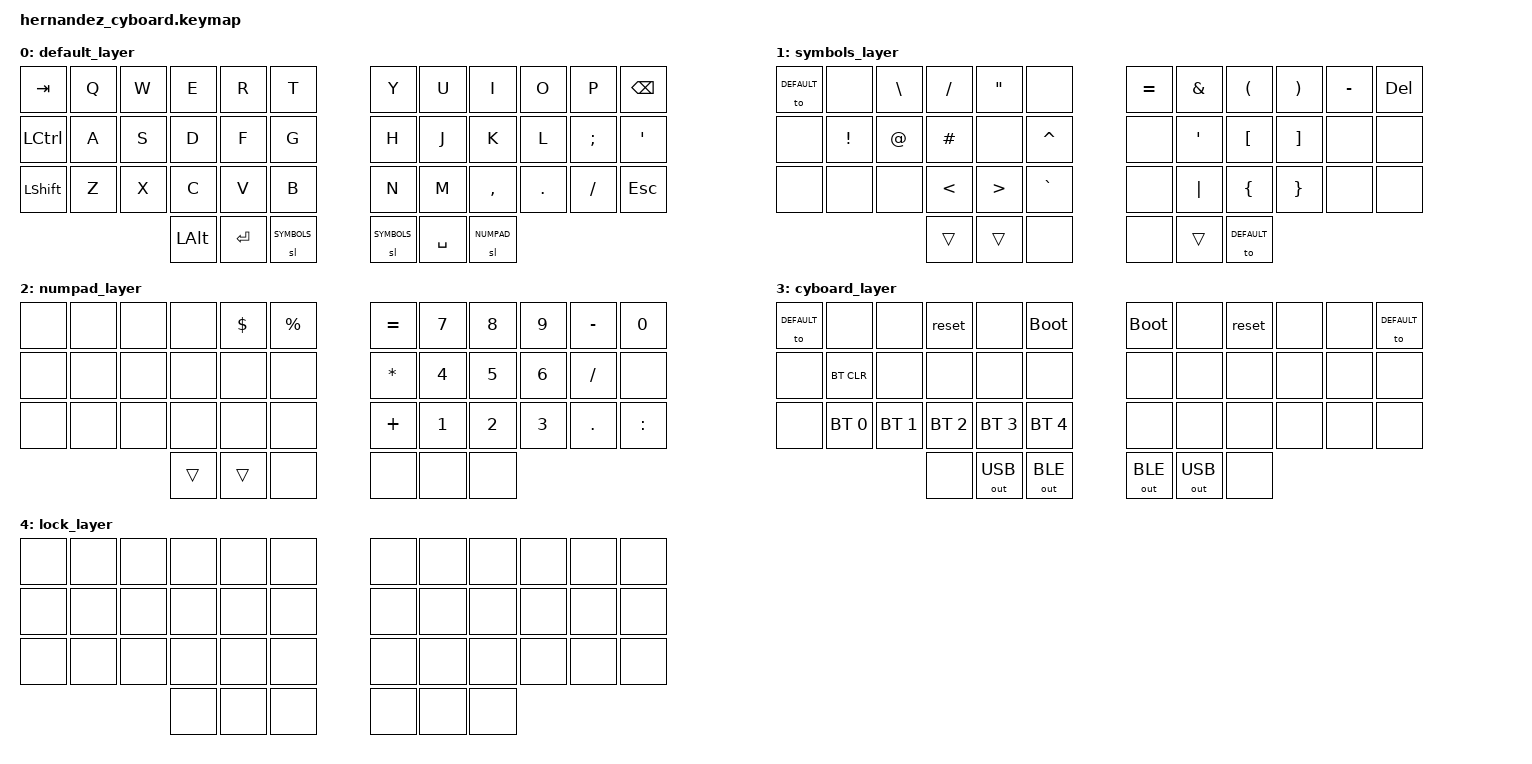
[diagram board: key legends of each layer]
/*
 * Copyright (c) 2020 The ZMK Contributors
 *
 * SPDX-License-Identifier: MIT
 */

#include <behaviors.dtsi>
#include <dt-bindings/zmk/keys.h>
#include <dt-bindings/zmk/bt.h>
#include <dt-bindings/zmk/outputs.h>

#define DEFAULT 0
#define SYMBOLS 1
#define NUMPAD 2
#define CYBOARD 3
#define LOCK 4

/ {

// key-positions for combos
// 0  1  2  3  4  5  -  |  -  6  7  8  9  10 11
// 12 13 14 15 16 17 -  |  -  18 19 20 21 22 23
// 24 25 26 27 28 29 -  |  -  30 31 32 33 34 35
// -  -  -  -  36 37 38 |  39 40 41

        combos {
                compatible = "zmk,combos";
                combo_toggle_lock_left {
                          timeout-ms = <50>;
                          key-positions = <0 5 38>;
                          bindings = <&tog LOCK>;
                };
                combo_toggle_lock_right {
                          timeout-ms = <50>;
                          key-positions = <6 11 39>;
                          bindings = <&tog LOCK>;
                };
                combo_cyboard {
                          timeout-ms = <50>;
                          key-positions = <1 2 3 4>;
                          bindings = <&tog CYBOARD>;
                };
        };

        keymap {
                compatible = "zmk,keymap";

                default_layer {
                        bindings = <
   &kp TAB   &kp Q &kp W &kp E &kp R    &kp T                              &kp Y      &kp U   &kp I     &kp O   &kp P    &kp BSPC
   &kp LCTRL &kp A &kp S &kp D &kp F    &kp G                              &kp H      &kp J   &kp K     &kp L   &kp SEMI &kp SQT
   &kp LSHFT &kp Z &kp X &kp C &kp V    &kp B                              &kp N      &kp M   &kp COMMA &kp DOT &kp FSLH &kp ESC
                               &kp LALT &kp RET &sl SYMBOLS    &sl SYMBOLS &kp SPACE  &sl NUMPAD
                        >;
                };

                symbols_layer {
                        bindings = <
   &to DEFAULT &none    &kp BSLH &kp FSLH &kp DQT  &none                                &kp EQUAL &kp AMPS &kp LPAR &kp RPAR &kp MINUS &kp DEL
   &none       &kp EXCL &kp AT   &kp HASH &none &kp CARET                               &none  &kp SQT  &kp LBKT &kp RBKT &none     &none
   &none       &none &none &kp LT   &kp GT   &kp GRAVE                                  &none     &kp PIPE &kp LBRC &kp RBRC &none     &none
                                              &trans    &trans &none    &none &trans    &to DEFAULT
                        >;
                };

                numpad_layer {
                        bindings = <
   &none &none &none &none &kp DLLR &kp PRCNT                               &kp EQUAL &kp N7 &kp N8 &kp N9 &kp MINUS &kp N0
   &none &none &none &none &none    &none                                   &kp STAR  &kp N4 &kp N5 &kp N6 &kp FSLH  &none
   &none &none &none &none &none    &none                                   &kp PLUS  &kp N1 &kp N2 &kp N3 &kp DOT   &kp COLON
                                    &trans    &trans &none    &none &none &none
                        >;
                };

                cyboard_layer {
                        bindings = <
   &to DEFAULT &none        &none        &reset       &none        &bootloader                                                         &bootloader &none &reset &none &none &to DEFAULT
   &none       &bt BT_CLR   &none        &none        &none        &none                                                               &none       &none &none  &none &none &none
   &none       &bt BT_SEL 0 &bt BT_SEL 1 &bt BT_SEL 2 &bt BT_SEL 3 &bt BT_SEL 4                                                        &none       &none &none  &none &none &none
                                                                   &none        &out OUT_USB &out OUT_BLE    &out OUT_BLE &out OUT_USB &none
                        >;
                };

                lock_layer {
                        bindings = <
   &none &none &none &none &none &none                            &none &none &none &none &none &none
   &none &none &none &none &none &none                            &none &none &none &none &none &none
   &none &none &none &none &none &none                            &none &none &none &none &none &none
                                 &none &none &none    &none &none &none
                        >;
                };
        };
};
